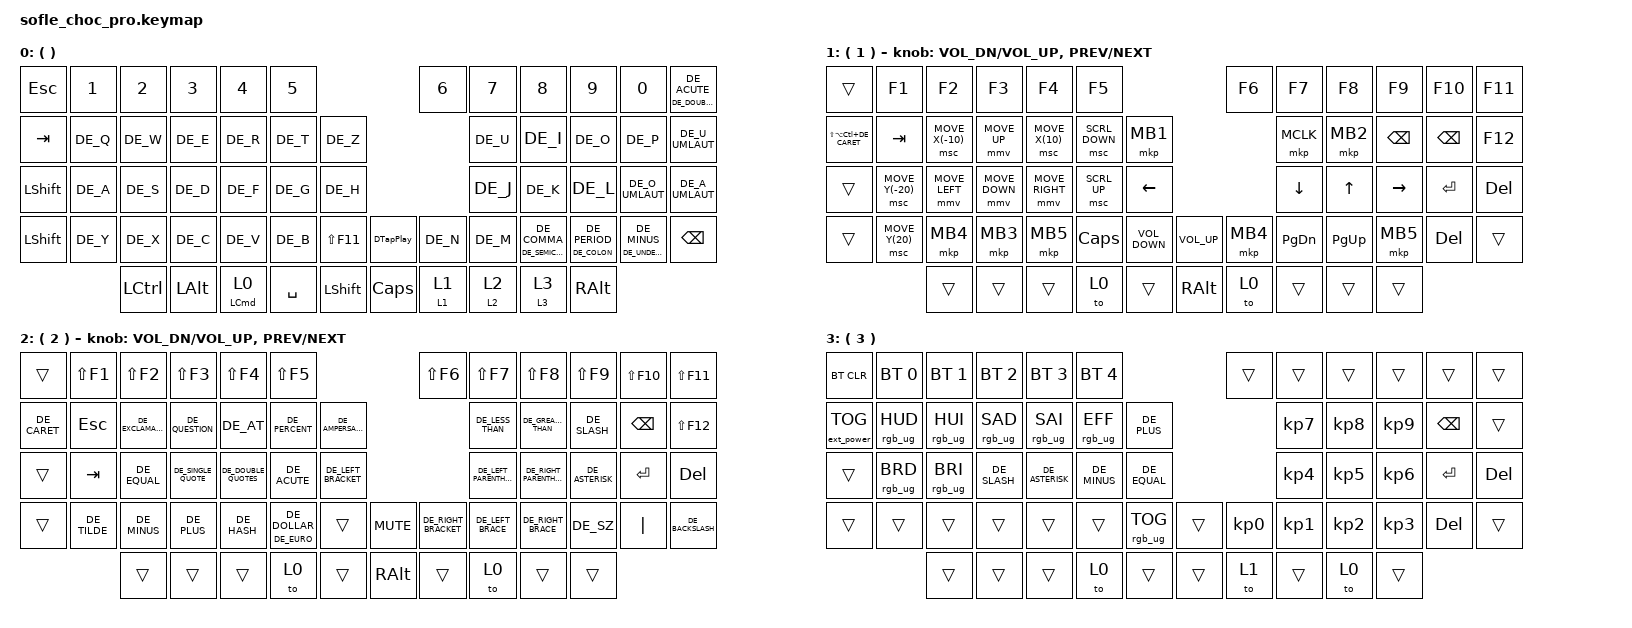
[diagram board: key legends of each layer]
/*
* Copyright (c) 2020 The ZMK Contributors
*
* SPDX-License-Identifier: MIT
*/

#include <behaviors.dtsi>
#include <dt-bindings/zmk/bt.h>
#include <dt-bindings/zmk/ext_power.h>
#include <dt-bindings/zmk/keys.h>
#include <dt-bindings/zmk/pointing.h>
#include <dt-bindings/zmk/rgb.h>
#include "keys_de.h"

#define BASE 0
#define LOWER 1
#define RAISE 2
#define ADJUST 3

/ {
    // Activate ADJUST layer by pressing raise and lower

    conditional_layers { compatible = "zmk,conditional-layers"; };

    behaviors {
        DTapPlay: DTapPlay {
            compatible = "zmk,behavior-tap-dance";
            label = "DTAPPLAY";
            #binding-cells = <0>;
            bindings = <&kp C_PLAY_PAUSE>, <&kp C_NEXT>, <&kp C_PREVIOUS>;
        };

        hTapMomentaryLayer: hTapMomentaryLayer {
            compatible = "zmk,behavior-hold-tap";
            label = "HTAPMOMENTARYLAYER";
            bindings = <&mo>, <&to>;

            #binding-cells = <2>;
            tapping-term-ms = <230>;
            hold-while-undecided;
        };

        cmd_to_mt: cmd_to_mt {
            compatible = "zmk,behavior-hold-tap";
            label = "CMD_TO_MT";
            bindings = <&kp>, <&to>;

            #binding-cells = <2>;
            tapping-term-ms = <400>;
            flavor = "hold-preferred";
            hold-while-undecided;
            hold-while-undecided-linger;
        };
    };

    macros {
        Super: Super {
            compatible = "zmk,behavior-macro";
            #binding-cells = <0>;
            bindings = <&kp LEFT_CONTROL &kp LEFT_SHIFT &kp LEFT_ALT>;
            label = "SUPER";
        };

        cmd_to: new_macro {
            compatible = "zmk,behavior-macro";
            #binding-cells = <0>;
            bindings = <&to 0 &kp LEFT_COMMAND>;
            label = "NEW_MACRO";
        };
    };

    combos { compatible = "zmk,combos"; };

    keymap {
        compatible = "zmk,keymap";

        default_layer {
            display-name = "(  )";

            // ------------------------------------------------------------------------------------------------------------
            // |   `   |  1  |  2  |  3   |  4   |  5   |                   |  6   |  7    |  8    |  9   |   0   |   `   |
            // |  ESC  |  Q  |  W  |  E   |  R   |  T   |                   |  Y   |  U    |  I    |  O   |   P   | BKSPC |
            // |  TAB  |  A  |  S  |  D   |  F   |  G   |                   |  H   |  J    |  K    |  L   |   ;   |   '   |
            // | SHIFT |  Z  |  X  |  C   |  V   |  B   |  MUTE  |  | PLAY  |  N   |  M    |  ,    |  .   |   /   | SHIFT |
            //               | GUI | ALT  | CTRL | LOWER|  ENTER |  | SPACE | RAISE| CTRL  | ALT   | GUI  |

            bindings = <
&kp ESCAPE      &kp N1    &kp N2            &kp N3        &kp N4                     &kp N5                                   &kp N6                   &kp N7                   &kp N8                     &kp N9                  &kp N0                      &mt DE_DOUBLE_QUOTES DE_ACUTE
&kp TAB         &kp DE_Q  &kp DE_W          &kp DE_E      &kp DE_R                   &kp DE_T   &kp DE_Z                                               &kp DE_U                 &kp DE_I                   &kp DE_O                &kp DE_P                    &kp DE_U_UMLAUT
&kp LEFT_SHIFT  &kp DE_A  &kp DE_S          &kp DE_D      &kp DE_F                   &kp DE_G   &kp DE_H                                               &kp DE_J                 &kp DE_K                   &kp DE_L                &kp DE_O_UMLAUT             &kp DE_A_UMLAUT
&kp LEFT_SHIFT  &kp DE_Y  &kp DE_X          &kp DE_C      &kp DE_V                   &kp DE_B   &kp LS(F11)     &DTapPlay     &kp DE_N                 &kp DE_M                 &mt DE_SEMICOLON DE_COMMA  &mt DE_COLON DE_PERIOD  &mt DE_UNDERSCORE DE_MINUS  &kp BACKSPACE
                          &kp LEFT_CONTROL  &kp LEFT_ALT  &cmd_to_mt LEFT_COMMAND 0  &kp SPACE  &kp LEFT_SHIFT  &kp CAPSLOCK  &hTapMomentaryLayer 1 1  &hTapMomentaryLayer 2 2  &hTapMomentaryLayer 3 3    &kp RIGHT_ALT
            >;
        };

        raise_layer {
            display-name = "( 1 )";

            // ------------------------------------------------------------------------------------------------------------
            // | BTCLR | BT1  | BT2  |  BT3  |  BT4  |  BT5 |                |      |      |       |      |       |       |
            // |       | INS  | PSCR | GUI   |       |      |                | PGUP |      |   ^   |      |       |       |
            // |       | ALT  | CTRL | SHIFT |       | CAPS |                | PGDN |   <- |   v   |  ->  |  DEL  | BKSPC |
            // |       | UNDO | CUT  | COPY  | PASTE |      |      |  |      |      |      |       |      |       |       |
            //                |      |       |       |      |      |  |      |      |      |       |      |

            bindings = <
&trans                    &kp F1            &kp F2            &kp F3          &kp F4           &kp F5                                              &kp F6    &kp F7          &kp F8        &kp F9         &kp F10        &kp F11
&kp LS(LA(LC(DE_CARET)))  &kp TAB           &msc MOVE_X(-10)  &mmv MOVE_UP    &msc MOVE_X(10)  &msc SCRL_DOWN  &mkp MB1                                      &mkp MCLK       &mkp MB2      &kp BACKSPACE  &kp BACKSPACE  &kp F12
&trans                    &msc MOVE_Y(-20)  &mmv MOVE_LEFT    &mmv MOVE_DOWN  &mmv MOVE_RIGHT  &msc SCRL_UP    &kp LEFT_ARROW                                &kp DOWN_ARROW  &kp UP_ARROW  &kp RIGHT      &kp ENTER      &kp DEL
&trans                    &msc MOVE_Y(20)   &mkp MB4          &mkp MB3        &mkp MB5         &kp CAPS        &kp C_VOLUME_DOWN  &kp C_VOLUME_UP  &mkp MB4  &kp PAGE_DOWN   &kp PAGE_UP   &mkp MB5       &kp DELETE     &trans
                                            &trans            &trans          &trans           &to 0           &trans             &kp RIGHT_ALT    &to 0     &trans          &trans        &trans
            >;

            sensor-bindings = <&inc_dec_kp C_VOL_DN C_VOL_UP &inc_dec_kp C_PREV C_NEXT>;
        };

        lower_layer {
            display-name = "( 2 )";

            // ------------------------------------------------------------------------------------------------------------
            // |       |  F1 |  F2 |  F3  |  F4  |  F5  |                   |  F6  |  F7   |  F8   |  F9  |  F10  |  F11  |
            // |   `   |  1  |  2  |  3   |  4   |  5   |                   |  6   |  7    |  8    |  9   |   0   |  F12  |
            // |       |  !  |  @  |  #   |  $   |  %   |                   |  ^   |  &    |  *    |  (   |   )   |   |   |
            // |       |  =  |  -  |  +   |  {   |  }   |        |  |       |  [   |  ]    |  ;    |  :   |   \   |       |
            //               |     |      |      |      |        |  |       |      |       |       |      |

            bindings = <
&trans        &kp LS(F1)    &kp LS(F2)          &kp LS(F3)           &kp LS(F4)            &kp LS(F5)                                                 &kp LS(F6)            &kp LS(F7)               &kp LS(F8)                &kp LS(F9)       &kp LS(F10)    &kp LS(F11)
&kp DE_CARET  &kp ESCAPE    &kp DE_EXCLAMATION  &kp DE_QUESTION      &kp DE_AT             &kp DE_PERCENT         &kp DE_AMPERSAND                                          &kp DE_LESS_THAN         &kp DE_GREATER_THAN       &kp DE_SLASH     &kp BACKSPACE  &kp LS(F12)
&trans        &kp TAB       &kp DE_EQUAL        &kp DE_SINGLE_QUOTE  &kp DE_DOUBLE_QUOTES  &kp DE_ACUTE           &kp DE_LEFT_BRACKET                                       &kp DE_LEFT_PARENTHESIS  &kp DE_RIGHT_PARENTHESIS  &kp DE_ASTERISK  &kp ENTER      &kp DELETE
&trans        &kp DE_TILDE  &kp DE_MINUS        &kp DE_PLUS          &kp DE_HASH           &mt DE_EURO DE_DOLLAR  &trans               &kp C_MUTE     &kp DE_RIGHT_BRACKET  &kp DE_LEFT_BRACE        &kp DE_RIGHT_BRACE        &kp DE_SZ        &kp PIPE       &kp DE_BACKSLASH
                            &trans              &trans               &trans                &to 0                  &trans               &kp RIGHT_ALT  &trans                &to 0                    &trans                    &trans
            >;

            sensor-bindings = <&inc_dec_kp C_VOL_DN C_VOL_UP &inc_dec_kp C_PREV C_NEXT>;
        };

        adjust_layer {
            // ----------------------------------------------------------------------------------------------------------------------------
            // | BTCLR  |  BT1    |  BT2    |   BT3   |   BT4   |   BT5   |                  |      |      |       |      |       |       |
            // | EXTPWR | RGB_HUD | RGB_HUI | RGB_SAD | RGB_SAI | RGB_EFF |                  |      |      |       |      |       |       |
            // |        | RGB_BRD | RGB_BRI |         |         |         |                  |      |      |       |      |       |       |
            // |        |         |         |         |         |         | RGB_TOG | |      |      |      |       |      |       |       |
            //                    |         |         |         |         |         | |      |      |      |       |      |

            display-name = "( 3 )";
            bindings = <
&bt BT_CLR         &bt BT_SEL 0     &bt BT_SEL 1     &bt BT_SEL 2     &bt BT_SEL 3     &bt BT_SEL 4                              &trans           &trans           &trans           &trans           &trans         &trans
&ext_power EP_TOG  &rgb_ug RGB_HUD  &rgb_ug RGB_HUI  &rgb_ug RGB_SAD  &rgb_ug RGB_SAI  &rgb_ug RGB_EFF  &kp DE_PLUS                               &kp KP_NUMBER_7  &kp KP_NUMBER_8  &kp KP_NUMBER_9  &kp BACKSPACE  &trans
&trans             &rgb_ug RGB_BRD  &rgb_ug RGB_BRI  &kp DE_SLASH     &kp DE_ASTERISK  &kp DE_MINUS     &kp DE_EQUAL                              &kp KP_NUMBER_4  &kp KP_NUMBER_5  &kp KP_NUMBER_6  &kp ENTER      &kp DELETE
&trans             &trans           &trans           &trans           &trans           &trans           &rgb_ug RGB_TOG  &trans  &kp KP_NUMBER_0  &kp KP_NUMBER_1  &kp KP_NUMBER_2  &kp KP_NUMBER_3  &kp DELETE     &trans
                                    &trans           &trans           &trans           &to 0            &trans           &trans  &to 1            &trans           &to 0            &trans
            >;
        };
    };
};
